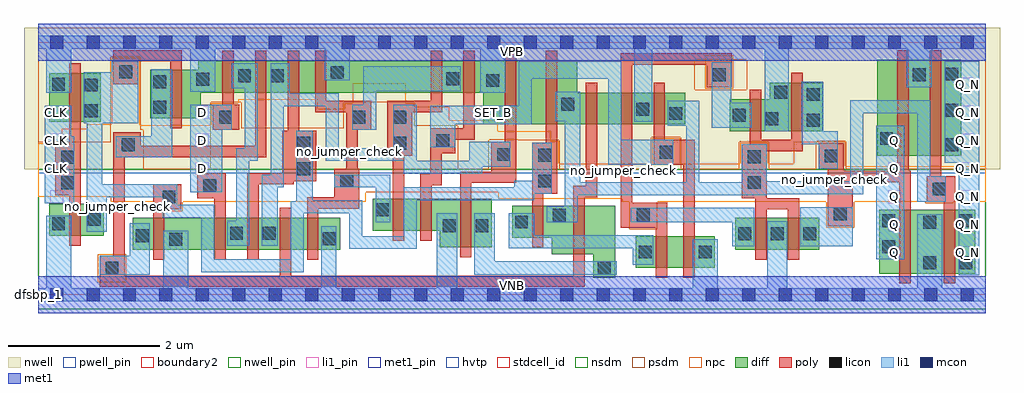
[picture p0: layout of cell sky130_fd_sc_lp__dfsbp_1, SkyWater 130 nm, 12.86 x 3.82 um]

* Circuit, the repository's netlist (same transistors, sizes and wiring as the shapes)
* Copyright 2020 The SkyWater PDK Authors
*
* Licensed under the Apache License, Version 2.0 (the "License");
* you may not use this file except in compliance with the License.
* You may obtain a copy of the License at
*
*     https://www.apache.org/licenses/LICENSE-2.0
*
* Unless required by applicable law or agreed to in writing, software
* distributed under the License is distributed on an "AS IS" BASIS,
* WITHOUT WARRANTIES OR CONDITIONS OF ANY KIND, either express or implied.
* See the License for the specific language governing permissions and
* limitations under the License.
*
* SPDX-License-Identifier: Apache-2.0

.SUBCKT sky130_fd_sc_lp__dfsbp_1 CLK D SET_B VGND VNB VPB VPWR Q Q_N
*.PININFO CLK:I D:I SET_B:I VGND:I VNB:I VPB:I VPWR:I Q:O Q_N:O
MI36 net130 M0 VGND VNB sky130_fd_pr__nfet_01v8 m=1 w=0.64U l=0.15U mult=1 sa=0.265
+ sb=0.265 sd=0.28 area=0.063 perim=1.14
MI42 db clkneg M0 VNB sky130_fd_pr__nfet_01v8 m=1 w=0.42U l=0.15U mult=1 sa=0.265
+ sb=0.265 sd=0.28 area=0.063 perim=1.14
MI44 clkneg CLK VGND VNB sky130_fd_pr__nfet_01v8 m=1 w=0.42U l=0.15U mult=1 sa=0.265
+ sb=0.265 sd=0.28 area=0.063 perim=1.14
MI39 db D VGND VNB sky130_fd_pr__nfet_01v8 m=1 w=0.42U l=0.15U mult=1 sa=0.265
+ sb=0.265 sd=0.28 area=0.063 perim=1.14
MI656 M1 M0 net113 VNB sky130_fd_pr__nfet_01v8 m=1 w=0.42U l=0.15U mult=1 sa=0.265
+ sb=0.265 sd=0.28 area=0.063 perim=1.14
MI654 net110 M1 VGND VNB sky130_fd_pr__nfet_01v8 m=1 w=0.42U l=0.15U mult=1 sa=0.265
+ sb=0.265 sd=0.28 area=0.063 perim=1.14
MI34 S0 clkpos net130 VNB sky130_fd_pr__nfet_01v8 m=1 w=0.64U l=0.15U mult=1 sa=0.265
+ sb=0.265 sd=0.28 area=0.063 perim=1.14
MI46 clkpos clkneg VGND VNB sky130_fd_pr__nfet_01v8 m=1 w=0.42U l=0.15U mult=1
+ sa=0.265 sb=0.265 sd=0.28 area=0.063 perim=1.14
MI25 net98 SET_B VGND VNB sky130_fd_pr__nfet_01v8 m=1 w=0.42U l=0.15U mult=1 sa=0.265
+ sb=0.265 sd=0.28 area=0.063 perim=1.14
MI26 S0 clkneg net90 VNB sky130_fd_pr__nfet_01v8 m=1 w=0.42U l=0.15U mult=1 sa=0.265
+ sb=0.265 sd=0.28 area=0.063 perim=1.14
MI27 net90 S1 net98 VNB sky130_fd_pr__nfet_01v8 m=1 w=0.42U l=0.15U mult=1 sa=0.265
+ sb=0.265 sd=0.28 area=0.063 perim=1.14
MI647 S1 S0 VGND VNB sky130_fd_pr__nfet_01v8 m=1 w=0.42U l=0.15U mult=1 sa=0.265
+ sb=0.265 sd=0.28 area=0.063 perim=1.14
MI655 M0 clkpos net110 VNB sky130_fd_pr__nfet_01v8 m=1 w=0.42U l=0.15U mult=1 sa=0.265
+ sb=0.265 sd=0.28 area=0.063 perim=1.14
MI657 net113 SET_B VGND VNB sky130_fd_pr__nfet_01v8 m=1 w=0.42U l=0.15U mult=1
+ sa=0.265 sb=0.265 sd=0.28 area=0.063 perim=1.14
MI651 Q_N S0 VGND VNB sky130_fd_pr__nfet_01v8 m=1 w=0.84U l=0.15U mult=1 sa=0.265
+ sb=0.265 sd=0.28 area=0.063 perim=1.14
MI652 net142 S0 VGND VNB sky130_fd_pr__nfet_01v8 m=1 w=0.42U l=0.15U mult=1 sa=0.265
+ sb=0.265 sd=0.28 area=0.063 perim=1.14
MI653 Q net142 VGND VNB sky130_fd_pr__nfet_01v8 m=1 w=0.84U l=0.15U mult=1 sa=0.265
+ sb=0.265 sd=0.28 area=0.063 perim=1.14
MI40 db D VPWR VPB sky130_fd_pr__pfet_01v8_hvt m=1 w=0.42U l=0.15U mult=1 sa=0.265
+ sb=0.265 sd=0.28 area=0.063 perim=1.14
MI38 S0 clkneg net193 VPB sky130_fd_pr__pfet_01v8_hvt m=1 w=0.84U l=0.15U mult=1
+ sa=0.265 sb=0.265 sd=0.28 area=0.063 perim=1.14
MI37 net193 M0 VPWR VPB sky130_fd_pr__pfet_01v8_hvt m=1 w=0.84U l=0.15U mult=1
+ sa=0.265 sb=0.265 sd=0.28 area=0.063 perim=1.14
MI43 db clkpos M0 VPB sky130_fd_pr__pfet_01v8_hvt m=1 w=0.42U l=0.15U mult=1 sa=0.265
+ sb=0.265 sd=0.28 area=0.063 perim=1.14
MI45 clkneg CLK VPWR VPB sky130_fd_pr__pfet_01v8_hvt m=1 w=0.64U l=0.15U mult=1
+ sa=0.265 sb=0.265 sd=0.28 area=0.063 perim=1.14
MI47 clkpos clkneg VPWR VPB sky130_fd_pr__pfet_01v8_hvt m=1 w=0.64U l=0.15U mult=1
+ sa=0.265 sb=0.265 sd=0.28 area=0.063 perim=1.14
MI659 M1 SET_B VPWR VPB sky130_fd_pr__pfet_01v8_hvt m=1 w=0.42U l=0.15U mult=1
+ sa=0.265 sb=0.265 sd=0.28 area=0.063 perim=1.14
MI662 net170 M1 VPWR VPB sky130_fd_pr__pfet_01v8_hvt m=1 w=0.42U l=0.15U mult=1
+ sa=0.265 sb=0.265 sd=0.28 area=0.063 perim=1.14
MI664 M0 clkneg net170 VPB sky130_fd_pr__pfet_01v8_hvt m=1 w=0.42U l=0.15U mult=1
+ sa=0.265 sb=0.265 sd=0.28 area=0.063 perim=1.14
MI6 net157 S1 VPWR VPB sky130_fd_pr__pfet_01v8_hvt m=1 w=0.42U l=0.15U mult=1 sa=0.265
+ sb=0.265 sd=0.28 area=0.063 perim=1.14
MI5 S0 clkpos net157 VPB sky130_fd_pr__pfet_01v8_hvt m=1 w=0.42U l=0.15U mult=1
+ sa=0.265 sb=0.265 sd=0.28 area=0.063 perim=1.14
MI24 S0 SET_B VPWR VPB sky130_fd_pr__pfet_01v8_hvt m=1 w=0.42U l=0.15U mult=1 sa=0.265
+ sb=0.265 sd=0.28 area=0.063 perim=1.14
MI648 S1 S0 VPWR VPB sky130_fd_pr__pfet_01v8_hvt m=1 w=0.42U l=0.15U mult=1 sa=0.265
+ sb=0.265 sd=0.28 area=0.063 perim=1.14
MI658 M1 M0 VPWR VPB sky130_fd_pr__pfet_01v8_hvt m=1 w=0.42U l=0.15U mult=1 sa=0.265
+ sb=0.265 sd=0.28 area=0.063 perim=1.14
MI663 net142 S0 VPWR VPB sky130_fd_pr__pfet_01v8_hvt m=1 w=0.64U l=0.15U mult=1
+ sa=0.265 sb=0.265 sd=0.28 area=0.063 perim=1.14
MI660 Q net142 VPWR VPB sky130_fd_pr__pfet_01v8_hvt m=1 w=1.26U l=0.15U mult=1
+ sa=0.265 sb=0.265 sd=0.28 area=0.063 perim=1.14
MI661 Q_N S0 VPWR VPB sky130_fd_pr__pfet_01v8_hvt m=1 w=1.26U l=0.15U mult=1 sa=0.265
+ sb=0.265 sd=0.28 area=0.063 perim=1.14
.ENDS sky130_fd_sc_lp__dfsbp_1

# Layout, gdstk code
import gdstk
lib = gdstk.Library(unit=1e-6, precision=1e-09)
def R(c, l, rs):  # rectangles x0, y0, x1, y1
    for r in rs: c.add(gdstk.rectangle(r[:2], r[2:], *l))
def A(c, l, x, y, w, h, nx, ny, dx, dy):  # array of equal rectangles
    R(c, l, [(x+i*dx, y+j*dy, x+i*dx+w, y+j*dy+h) for i in range(nx) for j in range(ny)])
def P(c, l, *ps):  # polygons
    for p in ps: c.add(gdstk.Polygon(p, *l))
nwell_pin = (64, 16)
nwell = (64, 20)
diff = (65, 20)
poly = (66, 20)
licon = (66, 44)
li1_pin = (67, 16)
li1 = (67, 20)
mcon = (67, 44)
met1_pin = (68, 16)
met1 = (68, 20)
hvtp = (78, 44)
stdcell_id = (81, 4)
nsdm = (93, 44)
psdm = (94, 20)
npc = (95, 20)
pwell_pin = (122, 16)
boundary2 = (236, 0)

sky130_fd_sc_lp__dfsbp_1 = lib.new_cell('sky130_fd_sc_lp__dfsbp_1')
R(sky130_fd_sc_lp__dfsbp_1, nwell_pin, [(0,3.085,12.48,3.33)])
R(sky130_fd_sc_lp__dfsbp_1, nwell, [(-0.19,1.655,12.67,3.52)])
R(sky130_fd_sc_lp__dfsbp_1, diff, [(11.08,0.28,12.345,1.12), (7.87,0.355,8.91,0.775), (1.245,0.595,3.975,1.015), (9.18,0.595,10.29,1.015), (0.14,0.78,0.86,1.2), (11.05,1.835,12.16,3.095), (0.14,2.28,0.82,2.92)])
P(sky130_fd_sc_lp__dfsbp_1, diff, [(5.97,1.265),(4.405,1.265),(4.405,0.845),(5.29,0.845),(5.29,0.625),(5.97,0.625)],
  [(7.6,1.175),(6.24,1.175),(6.24,0.755),(6.765,0.755),(6.765,0.535),(7.31,0.535),(7.31,0.225),(7.6,0.225)],
  [(8.52,2.665),(7.1,2.665),(7.1,3.085),(2.105,3.085),(2.105,2.965),(1.475,2.965),(1.475,2.325),(2.14,2.325),(2.14,2.665),(5.86,2.665),(5.86,2.245),(8.52,2.245)],
  [(10.335,2.795),(9.635,2.795),(9.635,2.575),(9.11,2.575),(9.11,2.155),(10.335,2.155)])
P(sky130_fd_sc_lp__dfsbp_1, poly, [(0.555,3.05),(0.405,3.05),(0.405,1.98),(0.22,1.98),(0.22,1.31),(0.405,1.31),(0.405,0.65),(0.555,0.65)],
  [(1.89,3.225),(0.985,3.225),(0.985,2.775),(1.315,2.775),(1.315,3.075),(1.74,3.075),(1.74,2.195),(1.89,2.195)],
  [(1.885,1.455),(1.51,1.455),(1.51,0.465),(1.66,0.465),(1.66,1.125),(1.885,1.125)],
  [(2.47,1.605),(2.095,1.605),(2.095,1.275),(2.32,1.275),(2.32,0.465),(2.47,0.465)],
  [(2.645,2.505),(2.575,2.505),(2.575,3.215),(2.425,3.215),(2.425,2.505),(2.3,2.505),(2.3,2.175),(2.645,2.175)],
  [(3.66,2.165),(3.435,2.165),(3.435,3.215),(3.285,3.215),(3.285,2.165),(3.215,2.165),(3.215,1.605),(2.75,1.605),(2.75,0.465),(2.9,0.465),(2.9,1.455),(3.365,1.455),(3.365,1.495),(3.66,1.495)],
  [(4.385,2.555),(3.795,2.555),(3.795,3.215),(3.645,3.215),(3.645,2.405),(4.055,2.405),(4.055,1.665),(3.9,1.665),(3.9,1.285),(3.54,1.285),(3.54,0.465),(3.69,0.465),(3.69,1.135),(4.23,1.135),(4.23,1.665),(4.205,1.665),(4.205,2.175),(4.385,2.175)],
  [(5.32,3.215),(5.17,3.215),(5.17,2.555),(4.595,2.555),(4.595,1.835),(4.67,1.835),(4.67,0.715),(4.82,0.715),(4.82,1.835),(4.925,1.835),(4.925,2.405),(5.32,2.405)],
  [(5.75,3.215),(5.6,3.215),(5.6,2.195),(5.165,2.195),(5.165,1.595),(5.03,1.595),(5.03,0.715),(5.18,0.715),(5.18,1.445),(5.315,1.445),(5.315,1.865),(5.495,1.865),(5.495,2.045),(5.75,2.045)],
  [(6.295,3.215),(6.145,3.215),(6.145,2.015),(5.965,2.015),(5.965,1.625),(5.555,1.625),(5.555,0.495),(5.705,0.495),(5.705,1.475),(6.295,1.475)],
  [(6.835,3.215),(6.685,3.215),(6.685,2.005),(6.505,2.005),(6.505,0.625),(6.655,0.625),(6.655,1.335),(6.835,1.335)],
  [(7.36,2.795),(7.21,2.795),(7.21,1.435),(7.05,1.435),(7.05,0.255),(3.33,0.255),(3.33,1.145),(3.18,1.145),(3.18,0.255),(1.135,0.255),(1.135,1.815),(3.005,1.815),(3.005,3.215),(2.855,3.215),(2.855,1.965),(1.35,1.965),(1.35,2.145),(0.985,2.145),(0.985,0.515),(0.805,0.515),(0.805,0.105),(7.2,0.105),(7.2,1.285),(7.36,1.285)],
  [(8.645,2.045),(8.255,2.045),(8.255,2.795),(8.105,2.795),(8.105,1.715),(8.495,1.715),(8.495,0.225),(8.645,0.225)],
  [(9.135,3.185),(7.675,3.185),(7.675,0.885),(8.135,0.885),(8.135,0.225),(8.285,0.225),(8.285,1.215),(7.825,1.215),(7.825,3.035),(8.805,3.035),(8.805,2.735),(9.135,2.735)],
  [(11.495,1.635),(11.465,1.635),(11.465,3.225),(11.315,3.225),(11.315,1.635),(10.61,1.635),(10.61,1.995),(10.28,1.995),(10.28,1.665),(10.4,1.665),(10.4,0.905),(10.73,0.905),(10.73,1.485),(11.345,1.485),(11.345,0.15),(11.495,0.15)],
  [(12.08,1.56),(11.895,1.56),(11.895,3.225),(11.745,3.225),(11.745,1.56),(11.705,1.56),(11.705,1.23),(11.93,1.23),(11.93,0.15),(12.08,0.15)],
  [(10.07,2.925),(9.92,2.925),(9.92,2.045),(9.525,2.045),(9.525,2.705),(9.375,2.705),(9.375,1.985),(9.265,1.985),(9.265,1.275),(9.445,1.275),(9.445,0.465),(9.595,0.465),(9.595,1.125),(9.875,1.125),(9.875,0.465),(10.025,0.465),(10.025,1.275),(9.595,1.275),(9.595,1.895),(10.07,1.895)])
A(sky130_fd_sc_lp__dfsbp_1, licon, 9.22, 0.72, 0.17, 0.17, 3, 1, 0.43, 0)
R(sky130_fd_sc_lp__dfsbp_1, licon, [(0.885,0.265,1.055,0.435), (7.37,0.265,7.54,0.435), (11.66,0.34,11.83,0.51), (12.135,0.34,12.305,0.51), (7.91,0.48,8.08,0.65), (8.7,0.48,8.87,0.65), (11.12,0.55,11.29,0.72), (1.725,0.65,1.895,0.82), (3.745,0.655,3.915,0.825), (1.285,0.695,1.455,0.865), (2.525,0.725,2.695,0.895), (2.955,0.725,3.125,0.895), (5.33,0.825,5.5,0.995), (5.76,0.825,5.93,0.995), (0.18,0.85,0.35,1.02), (11.66,0.87,11.83,1.04), (6.28,0.875,6.45,1.045), (11.12,0.89,11.29,1.06), (12.135,0.89,12.305,1.06), (0.65,0.91,0.82,1.08), (6.78,0.965,6.95,1.135), (7.885,0.965,8.055,1.135), (10.48,0.985,10.65,1.155), (4.445,1.035,4.615,1.205), (1.635,1.205,1.805,1.375), (11.785,1.31,11.955,1.48), (2.175,1.355,2.345,1.525), (0.3,1.39,0.47,1.56), (9.345,1.395,9.515,1.565), (3.98,1.415,4.15,1.585), (6.585,1.415,6.755,1.585), (3.41,1.575,3.58,1.745), (0.3,1.73,0.47,1.9), (9.345,1.735,9.515,1.905), (10.36,1.745,10.53,1.915), (6.585,1.755,6.755,1.925), (6.045,1.765,6.215,1.935), (8.185,1.795,8.355,1.965), (1.1,1.895,1.27,2.065), (11.95,1.895,12.12,2.065), (3.41,1.915,3.58,2.085), (4.675,1.915,4.845,2.085), (5.245,1.945,5.415,2.115), (11.09,1.975,11.26,2.145), (10.125,2.215,10.295,2.385), (9.58,2.235,9.75,2.405), (2.38,2.255,2.55,2.425), (4.135,2.255,4.305,2.425), (4.675,2.255,4.845,2.425), (9.15,2.28,9.32,2.45), (8.31,2.305,8.48,2.475), (0.61,2.34,0.78,2.51), (11.95,2.345,12.12,2.515), (7.88,2.36,8.05,2.53), (1.515,2.385,1.685,2.555), (6.89,2.425,7.06,2.595), (10.125,2.555,10.295,2.725), (9.695,2.585,9.865,2.755), (0.61,2.68,0.78,2.85), (0.18,2.69,0.35,2.86), (1.515,2.725,1.685,2.895), (5.9,2.74,6.07,2.91), (2.08,2.755,2.25,2.925), (5.375,2.765,5.545,2.935), (2.63,2.8,2.8,2.97), (3.06,2.8,3.23,2.97), (8.885,2.815,9.055,2.985), (11.52,2.815,11.69,2.985), (11.95,2.825,12.12,2.995), (3.85,2.845,4.02,3.015), (1.065,2.855,1.235,3.025)])
A(sky130_fd_sc_lp__dfsbp_1, li1_pin, 11.195, 0.47, 0.17, 0.17, 1, 5, 0, 0.37)
A(sky130_fd_sc_lp__dfsbp_1, li1_pin, 12.155, 0.47, 0.17, 0.17, 1, 7, 0, 0.37)
A(sky130_fd_sc_lp__dfsbp_1, li1_pin, 0.155, 1.21, 0.17, 0.17, 1, 4, 0, 0.37)
A(sky130_fd_sc_lp__dfsbp_1, li1_pin, 2.075, 1.58, 0.17, 0.17, 1, 3, 0, 0.37)
R(sky130_fd_sc_lp__dfsbp_1, li1_pin, [(5.915,2.32,6.085,2.49)])
R(sky130_fd_sc_lp__dfsbp_1, li1, [(11.04,0.47,11.41,2.225), (10.035,0.64,10.73,1.155)])
P(sky130_fd_sc_lp__dfsbp_1, li1, [(10.53,2.155),(10.34,2.155),(10.34,2.805),(10.055,2.805),(10.055,1.985),(10.28,1.985),(10.28,1.665),(10.53,1.665)],
  [(1.205,0.515),(1.205,0.945),(1.465,0.945),(1.465,0.265),(0.805,0.265),(0.805,0.515)],
  [(5.165,1.945),(5.165,2.49),(6.33,2.49),(6.33,3.075),(7.68,3.075),(7.68,2.045),(8.365,2.045),(8.365,1.715),(7.51,1.715),(7.51,2.845),(6.5,2.845),(6.5,2.245),(5.495,2.245),(5.495,1.945)],
  [(2,1.355),(2,2.505),(2.55,2.505),(2.55,2.175),(2.425,2.175),(2.425,1.355)],
  [(0.47,2.09),(0.43,2.09),(0.43,2.49),(0.085,2.49),(0.085,1.21),(0.47,1.21)],
  [(3.77,2.825),(3.77,3.245),(2.33,3.245),(2.33,2.675),(2,2.675),(2,3.245),(0.43,3.245),(0.43,2.66),(0.1,2.66),(0.1,3.245),(0,3.245),(0,3.415),(12.48,3.415),(12.48,3.245),(11.77,3.245),(11.77,2.735),(11.44,2.735),(11.44,3.245),(9.885,3.245),(9.885,2.155),(9.57,2.155),(9.57,3.245),(8.09,3.245),(8.09,2.28),(7.85,2.28),(7.85,3.245),(6.15,3.245),(6.15,2.66),(5.82,2.66),(5.82,3.245),(4.1,3.245),(4.1,2.825)],
  [(3.725,0.085),(3.725,0.905),(3.925,0.905),(3.925,0.085),(5.25,0.085),(5.25,1.075),(5.52,1.075),(5.52,0.085),(8.62,0.085),(8.62,0.73),(8.95,0.73),(8.95,0.085),(9.605,0.085),(9.605,0.97),(9.865,0.97),(9.865,0.085),(11.58,0.085),(11.58,1.06),(11.91,1.06),(11.91,0.085),(12.48,0.085),(12.48,-0.085),(0,-0.085),(0,0.085),(0.1,0.085),(0.1,1.04),(0.43,1.04),(0.43,0.085),(1.645,0.085),(1.645,0.845),(1.975,0.845),(1.975,0.085)],
  [(11.955,1.56),(11.75,1.56),(11.75,2.565),(10.7,2.565),(10.7,1.495),(9.595,1.495),(9.595,1.985),(9.265,1.985),(9.265,1.485),(8.705,1.485),(8.705,2.555),(8.29,2.555),(8.29,2.225),(8.535,2.225),(8.535,1.485),(7.14,1.485),(7.14,2.675),(6.81,2.675),(6.81,2.285),(6.935,2.285),(6.935,1.165),(6.7,1.165),(6.7,0.955),(7.105,0.955),(7.105,1.315),(9.595,1.315),(9.595,1.325),(10.87,1.325),(10.87,2.395),(11.58,2.395),(11.58,1.23),(11.955,1.23)],
  [(11.94,1.74),(11.94,3.075),(12.395,3.075),(12.395,0.26),(12.125,0.26),(12.125,1.74)],
  [(3.31,2.655),(3.955,2.655),(3.955,1.935),(4.675,1.935),(4.675,2.505),(4.985,2.505),(4.985,1.765),(5.675,1.765),(5.675,2.015),(6.215,2.015),(6.215,1.685),(5.845,1.685),(5.845,1.595),(4.815,1.595),(4.815,1.765),(3.785,1.765),(3.785,2.485),(3.23,2.485),(3.23,1.415),(3.155,1.415),(3.155,0.645),(2.945,0.645),(2.945,1.585),(3.06,1.585),(3.06,3.05),(3.31,3.05)],
  [(9.13,2.53),(9.4,2.53),(9.4,2.2),(8.875,2.2),(8.875,3.065),(9.13,3.065)],
  [(4.135,2.175),(4.135,2.505),(4.28,2.505),(4.28,3.015),(5.565,3.015),(5.565,2.685),(4.45,2.685),(4.45,2.175)],
  [(2.72,1.935),(2.72,2.72),(2.55,2.72),(2.55,3.05),(2.89,3.05),(2.89,1.765),(2.775,1.765),(2.775,0.645),(2.485,0.645),(2.485,0.975),(2.605,0.975),(2.605,1.935)],
  [(1.02,1.815),(1.02,2.09),(1.485,2.09),(1.485,2.975),(1.765,2.975),(1.765,1.815)],
  [(7.805,0.955),(7.805,1.145),(9.435,1.145),(9.435,0.64),(9.14,0.64),(9.14,0.955)],
  [(6.01,0.445),(7.62,0.445),(7.62,0.265),(5.74,0.265),(5.74,1.075),(6.01,1.075)],
  [(6.53,0.785),(8.1,0.785),(8.1,0.4),(7.83,0.4),(7.83,0.615),(6.2,0.615),(6.2,1.075),(6.53,1.075)],
  [(4.445,1.415),(3.9,1.415),(3.9,1.585),(4.635,1.585),(4.635,0.955),(4.445,0.955)],
  [(6.765,2.005),(6.505,2.005),(6.505,1.505),(6.27,1.505),(6.27,1.415),(4.815,1.415),(4.815,0.775),(4.265,0.775),(4.265,1.245),(3.615,1.245),(3.615,2.165),(3.4,2.165),(3.4,1.235),(3.325,1.235),(3.325,0.47),(2.315,0.47),(2.315,1.185),(1.83,1.185),(1.83,1.455),(0.84,1.455),(0.84,2.26),(1.315,2.26),(1.315,3.075),(0.965,3.075),(0.965,2.93),(0.6,2.93),(0.6,2.26),(0.64,2.26),(0.64,0.83),(0.9,0.83),(0.9,1.285),(1.635,1.285),(1.635,1.015),(2.145,1.015),(2.145,0.3),(3.495,0.3),(3.495,1.075),(4.095,1.075),(4.095,0.605),(4.985,0.605),(4.985,1.245),(6.53,1.245),(6.53,1.335),(6.765,1.335)])
A(sky130_fd_sc_lp__dfsbp_1, mcon, 0.155, -0.085, 0.17, 0.17, 26, 2, 0.48, 3.33)
R(sky130_fd_sc_lp__dfsbp_1, met1_pin, [(0,0,12.48,0.245), (0,3.085,12.48,3.33)])
R(sky130_fd_sc_lp__dfsbp_1, met1, [(0,-0.245,12.48,0.245), (0,3.085,12.48,3.575)])
R(sky130_fd_sc_lp__dfsbp_1, hvtp, [(0,1.6,12.48,3.33)])
R(sky130_fd_sc_lp__dfsbp_1, stdcell_id, [(0,0,12.48,3.33)])
R(sky130_fd_sc_lp__dfsbp_1, nsdm, [(0,-0.19,12.48,1.655)])
P(sky130_fd_sc_lp__dfsbp_1, psdm, [(12.48,3.52),(9.33,3.52),(9.33,2.705),(8.65,2.705),(8.65,3.095),(9.33,3.095),(9.33,3.52),(0,3.52),(0,2.01),(0.955,2.01),(0.955,3.14),(1.345,3.14),(1.345,2.175),(1.38,2.175),(1.38,1.655),(2.27,1.655),(2.27,2.535),(2.675,2.535),(2.675,2.195),(4.025,2.195),(4.025,2.535),(4.955,2.535),(4.955,2.225),(5.525,2.225),(5.525,1.655),(5.935,1.655),(5.935,2.045),(6.325,2.045),(6.325,2.035),(6.865,2.035),(6.865,1.655),(8.075,1.655),(8.075,2.075),(8.465,2.075),(8.465,1.655),(9.235,1.655),(9.235,2.015),(9.625,2.015),(9.625,1.655),(10.25,1.655),(10.25,2.025),(10.64,2.025),(10.64,1.655),(12.48,1.655)])
R(sky130_fd_sc_lp__dfsbp_1, npc, [(0.785,0.165,1.155,0.535), (8.785,2.715,9.155,3.155)])
P(sky130_fd_sc_lp__dfsbp_1, npc, [(12.48,1.695),(10.63,1.695),(10.63,2.015),(9.95,2.015),(9.95,1.73),(9.615,1.73),(9.615,2.005),(9.245,2.005),(9.245,1.73),(8.455,1.73),(8.455,2.065),(8.085,2.065),(8.085,1.73),(6.855,1.73),(6.855,2.025),(6.75,2.025),(6.75,2.155),(6.055,2.155),(6.055,2.3),(5.41,2.3),(5.41,2.48),(4.945,2.48),(4.945,2.525),(4.84,2.525),(4.84,2.79),(4.14,2.79),(4.14,2.525),(4.035,2.525),(4.035,2.45),(3.68,2.45),(3.68,2.575),(2.63,2.575),(2.63,2.525),(2.28,2.525),(2.28,2.235),(1.335,2.235),(1.335,3.125),(0.965,3.125),(0.965,2.25),(0.645,2.25),(0.645,2.19),(0.305,2.19),(0.305,2),(0,2),(0,1.29),(0.95,1.29),(0.95,1.23),(1.535,1.23),(1.535,1.105),(1.905,1.105),(1.905,1.23),(4.315,1.23),(4.315,1.355),(6.06,1.355),(6.06,1.265),(7.69,1.265),(7.69,1.23),(7.785,1.23),(7.785,0.865),(8.155,0.865),(8.155,1.23),(10.38,1.23),(10.38,0.885),(10.75,0.885),(10.75,1.23),(11.685,1.23),(11.685,1.21),(12.055,1.21),(12.055,1.23),(12.48,1.23)])
R(sky130_fd_sc_lp__dfsbp_1, pwell_pin, [(0,0,12.48,0.245)])
R(sky130_fd_sc_lp__dfsbp_1, boundary2, [(0,0,12.48,3.33)])
sky130_fd_sc_lp__dfsbp_1.add(gdstk.Label('VNB', (6.24,0.123), layer=64, texttype=59))
sky130_fd_sc_lp__dfsbp_1.add(gdstk.Label('VPB', (6.24,3.208), layer=64, texttype=5))
sky130_fd_sc_lp__dfsbp_1.add(gdstk.Label('no_jumper_check', (10.49,1.525), layer=83, texttype=44))
sky130_fd_sc_lp__dfsbp_1.add(gdstk.Label('no_jumper_check', (7.71,1.64), layer=83, texttype=44))
sky130_fd_sc_lp__dfsbp_1.add(gdstk.Label('dfsbp_1', (0,0), layer=83, texttype=44))
sky130_fd_sc_lp__dfsbp_1.add(gdstk.Label('no_jumper_check', (1.04,1.165), layer=83, texttype=44))
sky130_fd_sc_lp__dfsbp_1.add(gdstk.Label('no_jumper_check', (4.105,1.895), layer=83, texttype=44))
sky130_fd_sc_lp__dfsbp_1.add(gdstk.Label('VPWR', (6.24,3.208), layer=68, texttype=5))
sky130_fd_sc_lp__dfsbp_1.add(gdstk.Label('VGND', (6.24,0.123), layer=68, texttype=5))
sky130_fd_sc_lp__dfsbp_1.add(gdstk.Label('SET_B', (6,2.405), layer=67, texttype=5))
sky130_fd_sc_lp__dfsbp_1.add(gdstk.Label('CLK', (0.24,1.295), layer=67, texttype=5))
sky130_fd_sc_lp__dfsbp_1.add(gdstk.Label('CLK', (0.24,1.665), layer=67, texttype=5))
sky130_fd_sc_lp__dfsbp_1.add(gdstk.Label('CLK', (0.24,2.035), layer=67, texttype=5))
sky130_fd_sc_lp__dfsbp_1.add(gdstk.Label('CLK', (0.24,2.405), layer=67, texttype=5))
sky130_fd_sc_lp__dfsbp_1.add(gdstk.Label('D', (2.16,1.665), layer=67, texttype=5))
sky130_fd_sc_lp__dfsbp_1.add(gdstk.Label('D', (2.16,2.035), layer=67, texttype=5))
sky130_fd_sc_lp__dfsbp_1.add(gdstk.Label('D', (2.16,2.405), layer=67, texttype=5))
sky130_fd_sc_lp__dfsbp_1.add(gdstk.Label('Q', (11.28,0.555), layer=67, texttype=5))
sky130_fd_sc_lp__dfsbp_1.add(gdstk.Label('Q', (11.28,0.925), layer=67, texttype=5))
sky130_fd_sc_lp__dfsbp_1.add(gdstk.Label('Q', (11.28,1.295), layer=67, texttype=5))
sky130_fd_sc_lp__dfsbp_1.add(gdstk.Label('Q', (11.28,1.665), layer=67, texttype=5))
sky130_fd_sc_lp__dfsbp_1.add(gdstk.Label('Q', (11.28,2.035), layer=67, texttype=5))
sky130_fd_sc_lp__dfsbp_1.add(gdstk.Label('Q_N', (12.24,0.555), layer=67, texttype=5))
sky130_fd_sc_lp__dfsbp_1.add(gdstk.Label('Q_N', (12.24,0.925), layer=67, texttype=5))
sky130_fd_sc_lp__dfsbp_1.add(gdstk.Label('Q_N', (12.24,1.295), layer=67, texttype=5))
sky130_fd_sc_lp__dfsbp_1.add(gdstk.Label('Q_N', (12.24,1.665), layer=67, texttype=5))
sky130_fd_sc_lp__dfsbp_1.add(gdstk.Label('Q_N', (12.24,2.035), layer=67, texttype=5))
sky130_fd_sc_lp__dfsbp_1.add(gdstk.Label('Q_N', (12.24,2.405), layer=67, texttype=5))
sky130_fd_sc_lp__dfsbp_1.add(gdstk.Label('Q_N', (12.24,2.775), layer=67, texttype=5))

lib.write_gds('sky130_fd_sc_lp__dfsbp_1.gds')
